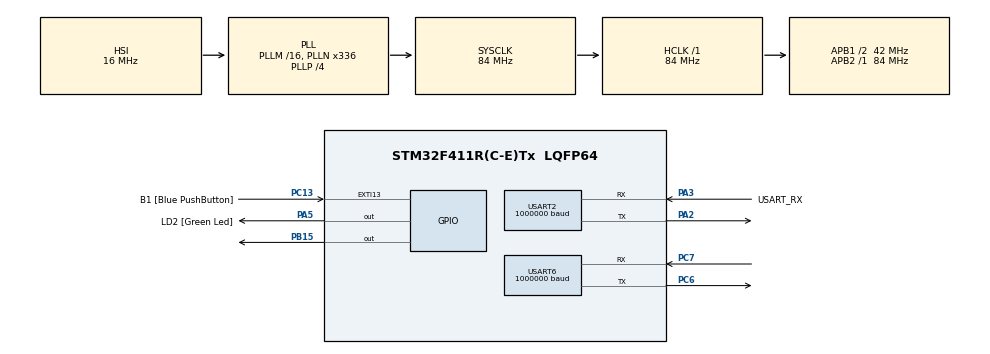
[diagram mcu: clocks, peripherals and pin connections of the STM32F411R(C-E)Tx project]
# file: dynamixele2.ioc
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Mcu.Family=STM32F4
Mcu.Name=STM32F411R(C-E)Tx
Mcu.Package=LQFP64
NVIC.PriorityGroup=NVIC_PRIORITYGROUP_0
PA13.GPIO_Label=TMS
PA13.Mode=Serial_Wire
PA13.Signal=SYS_JTMS-SWDIO
PA14.GPIO_Label=TCK
PA14.Mode=Serial_Wire
PA14.Signal=SYS_JTCK-SWCLK
PA2.Mode=Asynchronous
PA2.Signal=USART2_TX
PA3.GPIO_Label=USART_RX
PA3.Mode=Asynchronous
PA3.Signal=USART2_RX
PA5.GPIO_Label=LD2 [Green Led]
PA5.Signal=GPIO_Output
PB15.Signal=GPIO_Output
PB3.GPIO_Label=SWO
PB3.Signal=SYS_JTDO-SWO
PC13-ANTI_TAMP.GPIO_Label=B1 [Blue PushButton]
PC13-ANTI_TAMP.GPIO_ModeDefaultEXTI=GPIO_MODE_IT_FALLING
PC13-ANTI_TAMP.Signal=GPXTI13
PC14-OSC32_IN.Mode=LSE-External-Oscillator
PC14-OSC32_IN.Signal=RCC_OSC32_IN
PC15-OSC32_OUT.Mode=LSE-External-Oscillator
PC15-OSC32_OUT.Signal=RCC_OSC32_OUT
PC6.Mode=Asynchronous
PC6.Signal=USART6_TX
PC7.Mode=Asynchronous
PC7.Signal=USART6_RX
PH0\ -\ OSC_IN.Mode=HSE-External-Clock-Source
PH0\ -\ OSC_IN.Signal=RCC_OSC_IN
PH1\ -\ OSC_OUT.Mode=HSE-External-Clock-Source
PH1\ -\ OSC_OUT.Signal=RCC_OSC_OUT
ProjectManager.HeapSize=0x200
ProjectManager.StackSize=0x400
ProjectManager.TargetToolchain=TrueSTUDIO
RCC.48MHZClocksFreq_Value=84000000
RCC.AHBFreq_Value=84000000
RCC.APB1CLKDivider=RCC_HCLK_DIV2
RCC.APB1Freq_Value=42000000
RCC.APB1TimFreq_Value=84000000
RCC.APB2Freq_Value=84000000
RCC.APB2TimFreq_Value=84000000
RCC.CortexFreq_Value=84000000
RCC.FLatency-AdvancedSettings=FLASH_LATENCY_2
RCC.HCLKFreq_Value=84000000
RCC.HSE_VALUE=8000000
RCC.HSI_VALUE=16000000
RCC.PLLN=336
RCC.PLLP=RCC_PLLP_DIV4
RCC.SYSCLKFreq_VALUE=84000000
RCC.SYSCLKSource=RCC_SYSCLKSOURCE_PLLCLK
RCC.VCOOutputFreq_Value=336000000
USART2.BaudRate=1000000
USART2.VirtualMode=VM_ASYNC
USART6.BaudRate=1000000
USART6.VirtualMode=VM_ASYNC
board=NUCLEO-F411RE

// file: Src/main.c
/**
  ******************************************************************************
  * @file           : main.c
  * @brief          : Main program body
  ******************************************************************************
  ** This notice applies to any and all portions of this file
  * that are not between comment pairs USER CODE BEGIN and
  * USER CODE END. Other portions of this file, whether
  * inserted by the user or by software development tools
  * are owned by their respective copyright owners.
  *
  * COPYRIGHT(c) 2018 STMicroelectronics
  *
  * Redistribution and use in source and binary forms, with or without modification,
  * are permitted provided that the following conditions are met:
  *   1. Redistributions of source code must retain the above copyright notice,
  *      this list of conditions and the following disclaimer.
  *   2. Redistributions in binary form must reproduce the above copyright notice,
  *      this list of conditions and the following disclaimer in the documentation
  *      and/or other materials provided with the distribution.
  *   3. Neither the name of STMicroelectronics nor the names of its contributors
  *      may be used to endorse or promote products derived from this software
  *      without specific prior written permission.
  *
  * THIS SOFTWARE IS PROVIDED BY THE COPYRIGHT HOLDERS AND CONTRIBUTORS "AS IS"
  * AND ANY EXPRESS OR IMPLIED WARRANTIES, INCLUDING, BUT NOT LIMITED TO, THE
  * IMPLIED WARRANTIES OF MERCHANTABILITY AND FITNESS FOR A PARTICULAR PURPOSE ARE
  * DISCLAIMED. IN NO EVENT SHALL THE COPYRIGHT HOLDER OR CONTRIBUTORS BE LIABLE
  * FOR ANY DIRECT, INDIRECT, INCIDENTAL, SPECIAL, EXEMPLARY, OR CONSEQUENTIAL
  * DAMAGES (INCLUDING, BUT NOT LIMITED TO, PROCUREMENT OF SUBSTITUTE GOODS OR
  * SERVICES; LOSS OF USE, DATA, OR PROFITS; OR BUSINESS INTERRUPTION) HOWEVER
  * CAUSED AND ON ANY THEORY OF LIABILITY, WHETHER IN CONTRACT, STRICT LIABILITY,
  * OR TORT (INCLUDING NEGLIGENCE OR OTHERWISE) ARISING IN ANY WAY OUT OF THE USE
  * OF THIS SOFTWARE, EVEN IF ADVISED OF THE POSSIBILITY OF SUCH DAMAGE.
  *
  ******************************************************************************
  */
#include "main.h"
#include "stm32f4xx_hal.h"

UART_HandleTypeDef huart2;
UART_HandleTypeDef huart6;

/* USER CODE BEGIN PV */
/* Private variables ---------------------------------------------------------*/

/* USER CODE END PV */

void SystemClock_Config(void);
static void MX_GPIO_Init(void);
static void MX_USART6_UART_Init(void);
static void MX_USART2_UART_Init(void);

/* USER CODE BEGIN PFP */
/* Private function prototypes -----------------------------------------------*/

/* USER CODE END PFP */

int main(void)
{

  /* MCU Configuration----------------------------------------------------------*/

  /* Reset of all peripherals, Initializes the Flash interface and the Systick. */
  HAL_Init();

  /* Configure the system clock */
  SystemClock_Config();

  /* Initialize all configured peripherals */
  MX_GPIO_Init();
  MX_USART6_UART_Init();
  MX_USART2_UART_Init();

  /* Infinite loop */
  /* USER CODE BEGIN WHILE */
  int i =0;
  int bauds[10]={1000000,500000,400000,250000,200000,115200,57600,19200,9600};

  while (1)
  {
	  HAL_Delay(5);
	  huart6.Init.BaudRate = bauds[i];
	  i++;
	  uint8_t sent[9];
		sent[0] = 0xFF;
		sent[1] = 0xFF;
		sent[2] = 0xFE; //ID
		sent[3] = 0x05; // Length
		sent[4] = 0x03; //Instruction?
		sent[5] = 0x18;//Value1?->Adress
		sent[6] = 0x01;//Value2?
		sent[7] = 0x01;
		sent[8] = ~(sent[2] + sent[3] + sent[4] + sent[5]+sent[6]+sent[7]); // checksum
		HAL_UART_Transmit(&huart2,&sent,9,100);
		HAL_UART_Transmit(&huart6,&sent,9,100);
		if (i==10)i=0;

  /* USER CODE END WHILE */

  }

}

void SystemClock_Config(void)
{

  RCC_OscInitTypeDef RCC_OscInitStruct;
  RCC_ClkInitTypeDef RCC_ClkInitStruct;

    /**Configure the main internal regulator output voltage
    */
  __HAL_RCC_PWR_CLK_ENABLE();

  __HAL_PWR_VOLTAGESCALING_CONFIG(PWR_REGULATOR_VOLTAGE_SCALE1);

    /**Initializes the CPU, AHB and APB busses clocks
    */
  RCC_OscInitStruct.OscillatorType = RCC_OSCILLATORTYPE_HSI;
  RCC_OscInitStruct.HSIState = RCC_HSI_ON;
  RCC_OscInitStruct.HSICalibrationValue = 16;
  RCC_OscInitStruct.PLL.PLLState = RCC_PLL_ON;
  RCC_OscInitStruct.PLL.PLLSource = RCC_PLLSOURCE_HSI;
  RCC_OscInitStruct.PLL.PLLM = 16;
  RCC_OscInitStruct.PLL.PLLN = 336;
  RCC_OscInitStruct.PLL.PLLP = RCC_PLLP_DIV4;
  RCC_OscInitStruct.PLL.PLLQ = 4;
  if (HAL_RCC_OscConfig(&RCC_OscInitStruct) != HAL_OK)
  {
    _Error_Handler(__FILE__, __LINE__);
  }

    /**Initializes the CPU, AHB and APB busses clocks
    */
  RCC_ClkInitStruct.ClockType = RCC_CLOCKTYPE_HCLK|RCC_CLOCKTYPE_SYSCLK
                              |RCC_CLOCKTYPE_PCLK1|RCC_CLOCKTYPE_PCLK2;
  RCC_ClkInitStruct.SYSCLKSource = RCC_SYSCLKSOURCE_PLLCLK;
  RCC_ClkInitStruct.AHBCLKDivider = RCC_SYSCLK_DIV1;
  RCC_ClkInitStruct.APB1CLKDivider = RCC_HCLK_DIV2;
  RCC_ClkInitStruct.APB2CLKDivider = RCC_HCLK_DIV1;

  if (HAL_RCC_ClockConfig(&RCC_ClkInitStruct, FLASH_LATENCY_2) != HAL_OK)
  {
    _Error_Handler(__FILE__, __LINE__);
  }

    /**Configure the Systick interrupt time
    */
  HAL_SYSTICK_Config(HAL_RCC_GetHCLKFreq()/1000);

    /**Configure the Systick
    */
  HAL_SYSTICK_CLKSourceConfig(SYSTICK_CLKSOURCE_HCLK);

  /* SysTick_IRQn interrupt configuration */
  HAL_NVIC_SetPriority(SysTick_IRQn, 0, 0);
}

/* USART2 init function */
static void MX_USART2_UART_Init(void)
{

  huart2.Instance = USART2;
  huart2.Init.BaudRate = 1000000;
  huart2.Init.WordLength = UART_WORDLENGTH_8B;
  huart2.Init.StopBits = UART_STOPBITS_1;
  huart2.Init.Parity = UART_PARITY_NONE;
  huart2.Init.Mode = UART_MODE_TX_RX;
  huart2.Init.HwFlowCtl = UART_HWCONTROL_NONE;
  huart2.Init.OverSampling = UART_OVERSAMPLING_16;
  if (HAL_UART_Init(&huart2) != HAL_OK)
  {
    _Error_Handler(__FILE__, __LINE__);
  }

}

/* USART6 init function */
static void MX_USART6_UART_Init(void)
{

  huart6.Instance = USART6;
  huart6.Init.BaudRate = 115200;
  huart6.Init.WordLength = UART_WORDLENGTH_8B;
  huart6.Init.StopBits = UART_STOPBITS_1;
  huart6.Init.Parity = UART_PARITY_NONE;
  huart6.Init.Mode = UART_MODE_TX_RX;
  huart6.Init.HwFlowCtl = UART_HWCONTROL_NONE;
  huart6.Init.OverSampling = UART_OVERSAMPLING_16;
  if (HAL_UART_Init(&huart6) != HAL_OK)
  {
    _Error_Handler(__FILE__, __LINE__);
  }

}

/** Configure pins as
        * Analog
        * Input
        * Output
        * EVENT_OUT
        * EXTI
*/
static void MX_GPIO_Init(void)
{

  GPIO_InitTypeDef GPIO_InitStruct;

  /* GPIO Ports Clock Enable */
  __HAL_RCC_GPIOC_CLK_ENABLE();
  __HAL_RCC_GPIOH_CLK_ENABLE();
  __HAL_RCC_GPIOA_CLK_ENABLE();
  __HAL_RCC_GPIOB_CLK_ENABLE();

  /*Configure GPIO pin Output Level */
  HAL_GPIO_WritePin(LD2_GPIO_Port, LD2_Pin, GPIO_PIN_RESET);

  /*Configure GPIO pin Output Level */
  HAL_GPIO_WritePin(GPIOB, GPIO_PIN_15, GPIO_PIN_RESET);

  /*Configure GPIO pin : B1_Pin */
  GPIO_InitStruct.Pin = B1_Pin;
  GPIO_InitStruct.Mode = GPIO_MODE_IT_FALLING;
  GPIO_InitStruct.Pull = GPIO_NOPULL;
  HAL_GPIO_Init(B1_GPIO_Port, &GPIO_InitStruct);

  /*Configure GPIO pin : LD2_Pin */
  GPIO_InitStruct.Pin = LD2_Pin;
  GPIO_InitStruct.Mode = GPIO_MODE_OUTPUT_PP;
  GPIO_InitStruct.Pull = GPIO_NOPULL;
  GPIO_InitStruct.Speed = GPIO_SPEED_FREQ_LOW;
  HAL_GPIO_Init(LD2_GPIO_Port, &GPIO_InitStruct);

  /*Configure GPIO pin : PB15 */
  GPIO_InitStruct.Pin = GPIO_PIN_15;
  GPIO_InitStruct.Mode = GPIO_MODE_OUTPUT_PP;
  GPIO_InitStruct.Pull = GPIO_NOPULL;
  GPIO_InitStruct.Speed = GPIO_SPEED_FREQ_LOW;
  HAL_GPIO_Init(GPIOB, &GPIO_InitStruct);

}

void _Error_Handler(char *file, int line)
{
  while(1)
  {
  }
}

/************************ (C) COPYRIGHT STMicroelectronics *****END OF FILE****/
